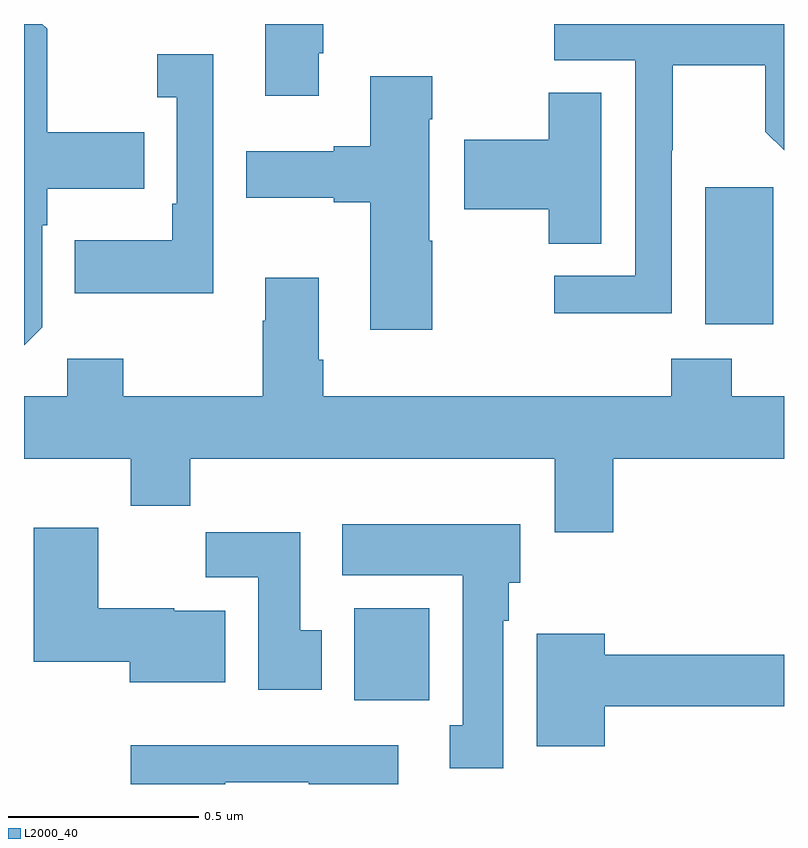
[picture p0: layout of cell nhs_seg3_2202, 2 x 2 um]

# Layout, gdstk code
import gdstk
lib = gdstk.Library(unit=1e-6, precision=1e-09)
def R(c, l, rs):  # rectangles x0, y0, x1, y1
    for r in rs: c.add(gdstk.rectangle(r[:2], r[2:], *l))
def P(c, l, *ps):  # polygons
    for p in ps: c.add(gdstk.Polygon(p, *l))
L2000_40 = (2000, 40)

nhs_seg3_2202 = lib.new_cell('nhs_seg3_2202')
R(nhs_seg3_2202, L2000_40, [(138.869,693.62,139.066,693.862), (139.793,694.61,139.972,694.971)])
P(nhs_seg3_2202, L2000_40, [(138.775,695.323),(138.788,695.323),(138.788,695.4),(138.635,695.4),(138.635,695.211),(138.775,695.211)],
  [(138.048,694.602),(138.048,694.871),(138.061,694.871),(138.061,694.967),(138.317,694.967),(138.317,695.115),(138.061,695.115),(138.061,695.387),(138.048,695.4),(138,695.4),(138,694.554)],
  [(139.704,695.068),(139.707,695.068),(139.707,695.292),(139.951,695.292),(139.951,695.117),(140,695.068),(140,695.4),(139.395,695.4),(139.395,695.304),(139.608,695.304),(139.608,694.737),(139.395,694.737),(139.395,694.639),(139.704,694.639)],
  [(138.498,695.32),(138.351,695.32),(138.351,695.207),(138.402,695.207),(138.402,694.927),(138.39,694.927),(138.39,694.831),(138.133,694.831),(138.133,694.691),(138.498,694.691)],
  [(139.074,694.829),(139.066,694.829),(139.066,695.15),(139.074,695.15),(139.074,695.263),(138.911,695.263),(138.911,695.078),(138.815,695.078),(138.815,695.065),(138.585,695.065),(138.585,694.943),(138.815,694.943),(138.815,694.931),(138.911,694.931),(138.911,694.596),(139.074,694.596)],
  [(139.519,695.219),(139.381,695.219),(139.381,695.096),(139.158,695.096),(139.158,694.913),(139.381,694.913),(139.381,694.822),(139.519,694.822)],
  [(139.55,694.256),(140,694.256),(140,694.42),(139.863,694.42),(139.863,694.519),(139.703,694.519),(139.703,694.42),(138.788,694.42),(138.788,694.516),(138.775,694.516),(138.775,694.732),(138.635,694.732),(138.635,694.619),(138.628,694.619),(138.628,694.42),(138.261,694.42),(138.261,694.519),(138.114,694.519),(138.114,694.42),(138,694.42),(138,694.256),(138.281,694.256),(138.281,694.132),(138.437,694.132),(138.437,694.256),(139.397,694.256),(139.397,694.062),(139.55,694.062)],
  [(139.261,693.83),(139.276,693.83),(139.276,693.93),(139.306,693.93),(139.306,694.084),(138.837,694.084),(138.837,693.95),(139.154,693.95),(139.154,693.554),(139.121,693.554),(139.121,693.441),(139.261,693.441)],
  [(138.529,693.856),(138.396,693.856),(138.396,693.862),(138.196,693.862),(138.196,694.075),(138.026,694.075),(138.026,693.722),(138.278,693.722),(138.278,693.668),(138.529,693.668)],
  [(138.784,693.804),(138.727,693.804),(138.727,694.063),(138.478,694.063),(138.478,693.944),(138.617,693.944),(138.617,693.648),(138.784,693.648)],
  [(139.528,693.604),(140,693.604),(140,693.74),(139.528,693.74),(139.528,693.796),(139.349,693.796),(139.349,693.5),(139.528,693.5)],
  [(138.529,693.405),(138.749,693.405),(138.749,693.4),(138.985,693.4),(138.985,693.502),(138.281,693.502),(138.281,693.4),(138.529,693.4)])

lib.write_gds('nhs_seg3_2202.gds')
